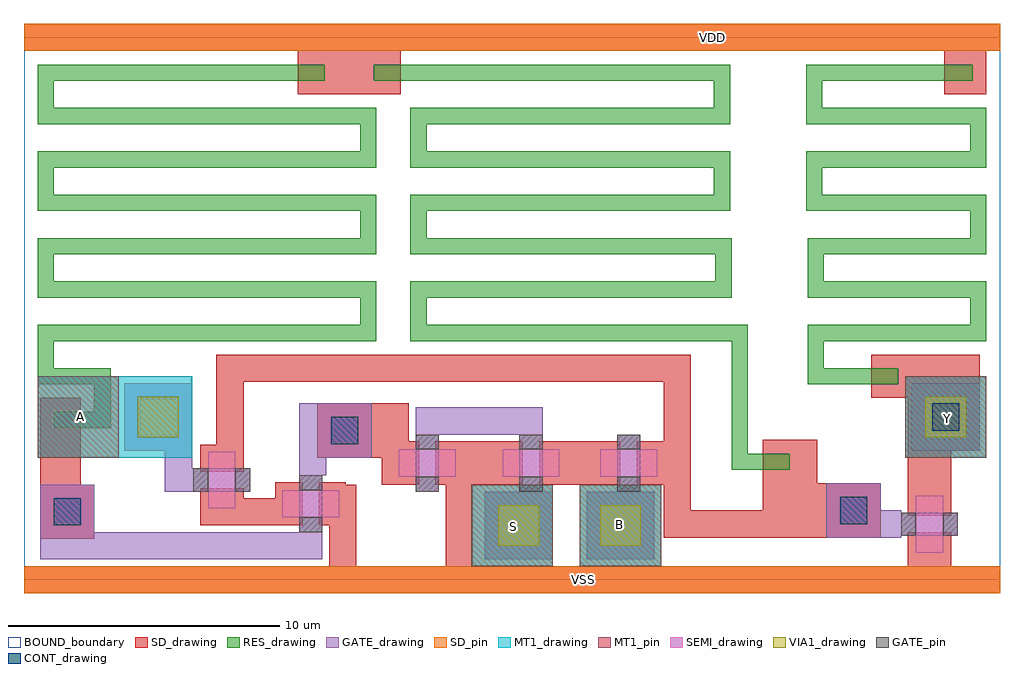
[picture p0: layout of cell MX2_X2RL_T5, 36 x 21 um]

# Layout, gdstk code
from math import pi, radians
import gdstk
lib = gdstk.Library(unit=1e-6, precision=1e-09)
def R(c, l, rs):  # rectangles x0, y0, x1, y1
    for r in rs: c.add(gdstk.rectangle(r[:2], r[2:], *l))
def P(c, l, *ps):  # polygons
    for p in ps: c.add(gdstk.Polygon(p, *l))
RES_drawing = (1, 0)
SEMI_drawing = (3, 0)
SD_drawing = (10, 0)
SD_pin = (10, 3)
GATE_drawing = (11, 0)
GATE_pin = (11, 3)
MT1_drawing = (20, 0)
MT1_pin = (20, 3)
CONT_drawing = (30, 0)
VIA1_drawing = (41, 0)
BOUND_boundary = (150, 5)

nch_cdns_772544964200 = lib.new_cell('nch_CDNS_772544964200')
R(nch_cdns_772544964200, SEMI_drawing, [(-1.05,-0.5,1.05,0.5)])
R(nch_cdns_772544964200, SD_drawing, [(-1.3,-0.8,-0.3,0.8), (0.3,-0.8,1.3,0.8)])
R(nch_cdns_772544964200, GATE_drawing, [(-0.425,-1.05,0.425,1.05)])
R(nch_cdns_772544964200, GATE_pin, [(-0.425,-1.05,0.425,-0.5), (-0.425,0.5,0.425,1.05)])

sd_gate_cdns_77254496420 = lib.new_cell('SD_GATE_CDNS_772544964200')
R(sd_gate_cdns_77254496420, SD_drawing, [(-1,-1,1,1)])
R(sd_gate_cdns_77254496420, GATE_drawing, [(-1,-1,1,1)])
R(sd_gate_cdns_77254496420, CONT_drawing, [(-0.5,-0.5,0.5,0.5)])

gate_mt1_cdns_7725449642 = lib.new_cell('GATE_MT1_CDNS_772544964201')
R(gate_mt1_cdns_7725449642, GATE_drawing, [(-1.25,-1.25,1.25,1.25)])
R(gate_mt1_cdns_7725449642, MT1_drawing, [(-1.25,-1.25,1.25,1.25)])
R(gate_mt1_cdns_7725449642, VIA1_drawing, [(-0.75,-0.75,0.75,0.75)])

gate_mt1_stack_cdns_7725 = lib.new_cell('GATE_MT1_STACK_CDNS_772544964202')
R(gate_mt1_stack_cdns_7725, GATE_drawing, [(-1.25,-1.25,1.25,1.25)])
R(gate_mt1_stack_cdns_7725, MT1_drawing, [(-1.25,-1.25,1.25,1.25)])
R(gate_mt1_stack_cdns_7725, VIA1_drawing, [(-0.75,-0.75,0.75,0.75)])

mx2_x2rl_t5 = lib.new_cell('MX2_X2RL_T5')
R(mx2_x2rl_t5, SD_drawing, [(27.25,1.55,29.25,5.15), (28.95,1.55,30.6,3.55), (0.6,3.5,2.1,6.7), (32.75,4.75,35.25,7.25), (31.25,6.7,35.25,8.3), (10.1,17.9,12.3,19.5), (12.3,17.9,13.9,19.5), (33.95,17.9,35.5,19.5)])
P(mx2_x2rl_t5, SD_drawing, [(14.2,6.5),(12.525,6.5),(12.525,4.5),(13.2,4.5),(13.2,3.5),(14.2,3.5)])
R(mx2_x2rl_t5, SD_pin, [(0,-0.5,36,0.5), (0,19.5,36,20.5)])
P(mx2_x2rl_t5, GATE_drawing, [(11.15,3.95),(10.15,3.95),(10.15,3.8),(10.9,3.8),(10.9,3.85),(11.15,3.85)],
  [(10,1.65),(11,1.65),(11,1.8),(10.25,1.8),(10.25,1.75),(10,1.75)],
  [(15.4,5.45),(14.5,5.45),(14.5,5.3),(15.25,5.3),(15.25,5.35),(15.4,5.35)],
  [(19.125,5.45),(18.25,5.45),(18.25,5.35),(18.35,5.35),(18.35,5.3),(19.1,5.3),(19.1,5.35),(19.125,5.35)],
  [(18.175,3.15),(19.175,3.15),(19.175,3.25),(19.075,3.25),(19.075,3.3),(18.325,3.3),(18.325,3.25),(18.175,3.25)],
  [(21.775,3.15),(22.775,3.15),(22.775,3.25),(22.675,3.25),(22.675,3.3),(21.925,3.3),(21.925,3.25),(21.775,3.25)],
  [(6.25,4.1),(6.2,4.1),(6.2,4.75),(5.2,4.75),(5.2,3.25),(6.25,3.25)],
  [(32.25,2.55),(32.25,1.55),(32.35,1.55),(32.35,1.675),(32.4,1.675),(32.4,2.425),(32.35,2.425),(32.35,2.55)])
R(mx2_x2rl_t5, MT1_drawing, [(16.5,0.5,19.5,3.5), (20.5,0.5,23.5,3.5), (0.5,4.5,6.2,7.5), (32.5,4.5,35.5,7.5)])
R(mx2_x2rl_t5, MT1_pin, [(16.5,0.5,19.5,3.5), (20.5,0.5,23.5,3.5), (0.5,4.5,3.5,7.5), (32.5,4.5,35.5,7.5)])
R(mx2_x2rl_t5, BOUND_boundary, [(0,0,36,20)])
mx2_x2rl_t5.add(gdstk.FlexPath([(1.1,5.9),(2.9,5.9),(2.9,7.5),(0.8,7.5),(0.8,9.1),(12.7,9.1),(12.7,10.7),(0.8,10.7),(0.8,12.3),(12.7,12.3),(12.7,13.9),(0.8,13.9),(0.8,15.5),(12.7,15.5),(12.7,17.1),(0.8,17.1),(0.8,18.7),(11.1,18.7)], 0.6, ends="flush", simple_path=True, layer=1, datatype=0))  # RES_drawing
mx2_x2rl_t5.add(gdstk.FlexPath([(28.25,4.35),(26.4,4.35),(26.4,9.1),(14.55,9.1),(14.55,10.7),(25.8,10.7),(25.8,12.3),(14.55,12.3),(14.55,13.9),(25.75,13.9),(25.75,15.5),(14.55,15.5),(14.55,17.1),(25.75,17.1),(25.75,18.7),(12.9,18.7)], 0.6, ends="flush", simple_path=True, layer=1, datatype=0))  # RES_drawing
mx2_x2rl_t5.add(gdstk.FlexPath([(35,18.7),(29.15,18.7),(29.15,17.1),(35.2,17.1),(35.2,15.5),(29.15,15.5),(29.15,13.9),(35.2,13.9),(35.2,12.3),(29.2,12.3),(29.2,10.7),(35.2,10.7),(35.2,9.1),(29.2,9.1),(29.2,7.5),(32.25,7.5)], 0.6, ends="flush", simple_path=True, layer=1, datatype=0))  # RES_drawing
mx2_x2rl_t5.add(gdstk.FlexPath([(0,0),(11.75,0)], 1, ends=(0, 0.5), simple_path=True, layer=10, datatype=0))  # SD_drawing
mx2_x2rl_t5.add(gdstk.FlexPath([(11.75,0),(16.05,0)], 1, ends="extended", simple_path=True, layer=10, datatype=0))  # SD_drawing
mx2_x2rl_t5.add(gdstk.FlexPath([(24.1,7.8),(24.1,2.05)], 1, ends="extended", simple_path=True, layer=10, datatype=0))  # SD_drawing
mx2_x2rl_t5.add(gdstk.FlexPath([(33.4,3.35),(33.4,6.7)], 1.6, ends="flush", simple_path=True, layer=10, datatype=0))  # SD_drawing
mx2_x2rl_t5.add(gdstk.FlexPath([(16.05,0),(36,0)], 1, ends=(0.5, 0), simple_path=True, layer=10, datatype=0))  # SD_drawing
mx2_x2rl_t5.add(gdstk.FlexPath([(24.1,2.05),(28.5,2.05)], 1, ends=(0.5, 0), simple_path=True, layer=10, datatype=0))  # SD_drawing
mx2_x2rl_t5.add(gdstk.FlexPath([(7.6,4.975),(7.6,7.8)], 1, ends=(0, 0.5), simple_path=True, layer=10, datatype=0))  # SD_drawing
mx2_x2rl_t5.add(gdstk.FlexPath([(6.5,2.5),(8.775,2.5)], 1, ends=(0, 0.5), simple_path=True, layer=10, datatype=0))  # SD_drawing
mx2_x2rl_t5.add(gdstk.FlexPath([(7.6,7.8),(24.1,7.8)], 1, ends="extended", simple_path=True, layer=10, datatype=0))  # SD_drawing
mx2_x2rl_t5.add(gdstk.FlexPath([(11.75,3.5),(11.75,0)], 1, ends=(0, 0.5), simple_path=True, layer=10, datatype=0))  # SD_drawing
mx2_x2rl_t5.add(gdstk.FlexPath([(21,4.3),(20,4.3)], 1.6, ends="flush", simple_path=True, layer=10, datatype=0))  # SD_drawing
mx2_x2rl_t5.add(gdstk.FlexPath([(16.05,0),(16.05,2.9)], 1, ends=(0.5, 0.7), simple_path=True, layer=10, datatype=0))  # SD_drawing
mx2_x2rl_t5.add(gdstk.FlexPath([(16.175,4.3),(17.4,4.3)], 1.6, ends="flush", simple_path=True, layer=10, datatype=0))  # SD_drawing
mx2_x2rl_t5.add(gdstk.FlexPath([(0,20),(36,20)], 1, ends="flush", simple_path=True, layer=10, datatype=0))  # SD_drawing
mx2_x2rl_t5.add(gdstk.FlexPath([(33.4,0.75),(33.4,0.5)], 1.6, ends=(0.8, 0), simple_path=True, layer=10, datatype=0))  # SD_drawing
mx2_x2rl_t5.add(gdstk.FlexPath([(30.925,2.05),(32.35,2.05)], 1, ends=(0.5, 0), simple_path=True, layer=11, datatype=0))  # GATE_drawing
mx2_x2rl_t5.add(gdstk.FlexPath([(10.5,1.25),(1.1,1.25)], 1, ends="extended", simple_path=True, layer=11, datatype=0))  # GATE_drawing
mx2_x2rl_t5.add(gdstk.FlexPath([(10.5,1.75),(10.5,1.25)], 1, ends=(0, 0.5), simple_path=True, layer=11, datatype=0))  # GATE_drawing
mx2_x2rl_t5.add(gdstk.FlexPath([(10.65,6),(12.325,6)], 1, ends="extended", simple_path=True, layer=11, datatype=0))  # GATE_drawing
mx2_x2rl_t5.add(gdstk.FlexPath([(10.65,3.85),(10.65,6)], 1, ends=(0, 0.5), simple_path=True, layer=11, datatype=0))  # GATE_drawing
mx2_x2rl_t5.add(gdstk.FlexPath([(14.95,5.85),(14.95,5.35)], 1, ends=(0.5, 0), simple_path=True, layer=11, datatype=0))  # GATE_drawing
mx2_x2rl_t5.add(gdstk.FlexPath([(18.625,5.85),(14.95,5.85)], 1, ends="extended", simple_path=True, layer=11, datatype=0))  # GATE_drawing
mx2_x2rl_t5.add(gdstk.FlexPath([(18.625,5.35),(18.625,5.85)], 1, ends=(0, 0.5), simple_path=True, layer=11, datatype=0))  # GATE_drawing
mx2_x2rl_t5.add(gdstk.Reference(nch_cdns_772544964200, (14.875,4.3), rotation=pi, x_reflection=True))
mx2_x2rl_t5.add(gdstk.Reference(nch_cdns_772544964200, (18.7,4.3)))
mx2_x2rl_t5.add(gdstk.Reference(nch_cdns_772544964200, (10.575,2.8), rotation=pi, x_reflection=True))
mx2_x2rl_t5.add(gdstk.Reference(nch_cdns_772544964200, (33.4,2.05), rotation=pi/2))
mx2_x2rl_t5.add(gdstk.Reference(nch_cdns_772544964200, (22.3,4.3)))
mx2_x2rl_t5.add(gdstk.Reference(nch_cdns_772544964200, (7.3,3.675), rotation=3*pi/2, x_reflection=True))
mx2_x2rl_t5.add(gdstk.Reference(sd_gate_cdns_77254496420, (34,6)))
mx2_x2rl_t5.add(gdstk.Reference(sd_gate_cdns_77254496420, (30.6,2.55)))
mx2_x2rl_t5.add(gdstk.Reference(sd_gate_cdns_77254496420, (1.6,2.5)))
mx2_x2rl_t5.add(gdstk.Reference(sd_gate_cdns_77254496420, (11.825,5.5)))
mx2_x2rl_t5.add(gdstk.Reference(gate_mt1_cdns_7725449642, (34,6)))
mx2_x2rl_t5.add(gdstk.Reference(gate_mt1_stack_cdns_7725, (4.95,6)))
mx2_x2rl_t5.add(gdstk.Reference(gate_mt1_stack_cdns_7725, (22,2)))
mx2_x2rl_t5.add(gdstk.Reference(gate_mt1_stack_cdns_7725, (18.25,2)))
mx2_x2rl_t5.add(gdstk.Label('Y', (34.05,5.95), layer=20, texttype=3))
mx2_x2rl_t5.add(gdstk.Label('B', (21.95,2.05), layer=20, texttype=3))
mx2_x2rl_t5.add(gdstk.Label('S', (18.05,1.95), layer=20, texttype=3))
mx2_x2rl_t5.add(gdstk.Label('A', (2.1,6), layer=20, texttype=3))
mx2_x2rl_t5.add(gdstk.Label('VSS', (20.65,0), layer=10, texttype=3))
mx2_x2rl_t5.add(gdstk.Label('VDD', (25.4,20), layer=10, texttype=3))

lib.write_gds('MX2_X2RL_T5.gds')
